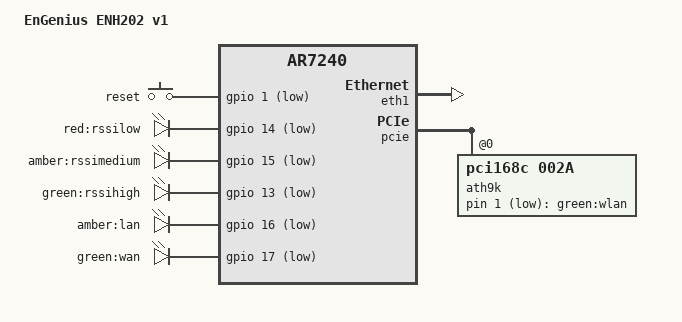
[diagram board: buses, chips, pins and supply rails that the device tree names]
// SPDX-License-Identifier: GPL-2.0-or-later OR MIT

#include "ar7240.dtsi"
#include "ar724x_senao_loader-64k.dtsi"

#include <dt-bindings/gpio/gpio.h>
#include <dt-bindings/input/input.h>

/ {
	compatible = "engenius,enh202-v1", "qca,ar7240";
	model = "EnGenius ENH202 v1";

	aliases {
		led-boot = &led_rssihigh;
		led-failsafe = &led_rssihigh;
		led-running = &led_rssihigh;
		led-upgrade = &led_rssihigh;
	};

	keys {
		compatible = "gpio-keys";

		reset {
			label = "reset";
			linux,code = <KEY_RESTART>;
			gpios = <&gpio 1 GPIO_ACTIVE_LOW>;
			debounce-interval = <60>;
		};
	};

	leds {
		compatible = "gpio-leds";

		pinctrl-names = "default";
		pinctrl-0 = <&jtag_disable_pins &switch_led_disable_pins &clks_disable_pins>;

		rssilow {
			label = "red:rssilow";
			gpios = <&gpio 14 GPIO_ACTIVE_LOW>;
		};

		rssimedium {
			label = "amber:rssimedium";
			gpios = <&gpio 15 GPIO_ACTIVE_LOW>;
		};

		led_rssihigh: rssihigh {
			label = "green:rssihigh";
			gpios = <&gpio 13 GPIO_ACTIVE_LOW>;
		};

		lan {
			label = "amber:lan";
			gpios = <&gpio 16 GPIO_ACTIVE_LOW>;
		};

		wan {
			label = "green:wan";
			gpios = <&gpio 17 GPIO_ACTIVE_LOW>;
		};
	};

	ath9k-leds {
		compatible = "gpio-leds";

		wlan {
			label = "green:wlan";
			gpios = <&ath9k 1 GPIO_ACTIVE_LOW>;
			linux,default-trigger = "phy0tpt";
		};
	};
};

&eth0 {
	nvmem-cells = <&macaddr_art_0>;
	nvmem-cell-names = "mac-address";
};

&eth1 {
	status = "okay";

	nvmem-cells = <&macaddr_art_0>;
	nvmem-cell-names = "mac-address";
};

&pcie {
	status = "okay";

	ath9k: wifi@0,0 {
		compatible = "pci168c,002a";
		reg = <0x0000 0 0 0 0>;
		qca,no-eeprom;
		#gpio-cells = <2>;
		gpio-controller;
	};
};

&art {
	compatible = "nvmem-cells";
	#address-cells = <1>;
	#size-cells = <1>;

	macaddr_art_0: macaddr@0 {
		reg = <0x0 0x6>;
	};
};
